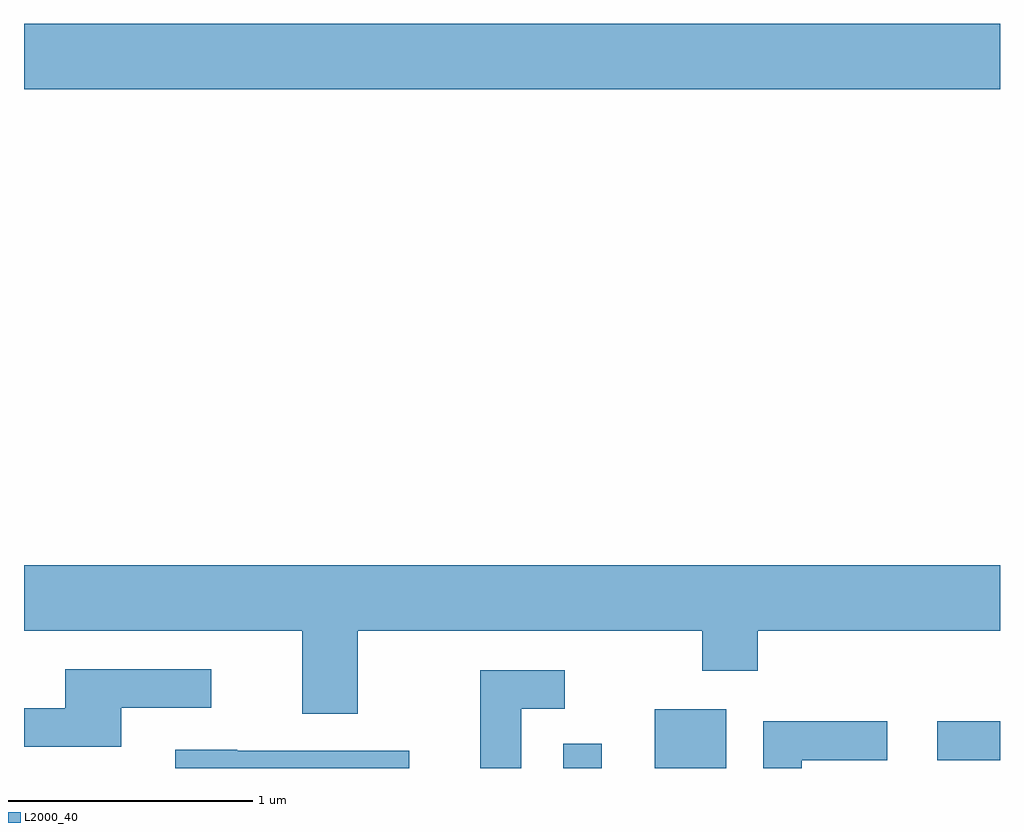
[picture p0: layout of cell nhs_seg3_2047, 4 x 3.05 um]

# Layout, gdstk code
import gdstk
lib = gdstk.Library(unit=1e-6, precision=1e-09)
def R(c, l, rs):  # rectangles x0, y0, x1, y1
    for r in rs: c.add(gdstk.rectangle(r[:2], r[2:], *l))
def P(c, l, *ps):  # polygons
    for p in ps: c.add(gdstk.Polygon(p, *l))
L2000_40 = (2000, 40)

nhs_seg3_2047 = lib.new_cell('nhs_seg3_2047')
R(nhs_seg3_2047, L2000_40, [(247.821,1129.892,247.979,1129.993), (248.196,1129.892,248.489,1130.134), (249.353,1129.926,249.611,1130.084), (245.611,1132.676,249.611,1132.944)])
P(nhs_seg3_2047, L2000_40, [(246.979,1130.456),(248.391,1130.456),(248.391,1130.291),(248.619,1130.291),(248.619,1130.456),(249.611,1130.456),(249.611,1130.724),(245.611,1130.724),(245.611,1130.456),(246.751,1130.456),(246.751,1130.116),(246.979,1130.116)],
  [(246.009,1130.141),(246.378,1130.141),(246.378,1130.299),(245.781,1130.299),(245.781,1130.139),(245.611,1130.139),(245.611,1129.981),(246.009,1129.981)],
  [(247.649,1130.136),(247.828,1130.136),(247.828,1130.294),(247.481,1130.294),(247.481,1129.892),(247.649,1129.892)],
  [(248.799,1129.926),(249.148,1129.926),(249.148,1130.084),(248.641,1130.084),(248.641,1129.892),(248.799,1129.892)],
  [(247.189,1129.964),(246.485,1129.964),(246.485,1129.969),(246.231,1129.969),(246.231,1129.892),(247.189,1129.892)])

lib.write_gds('nhs_seg3_2047.gds')
